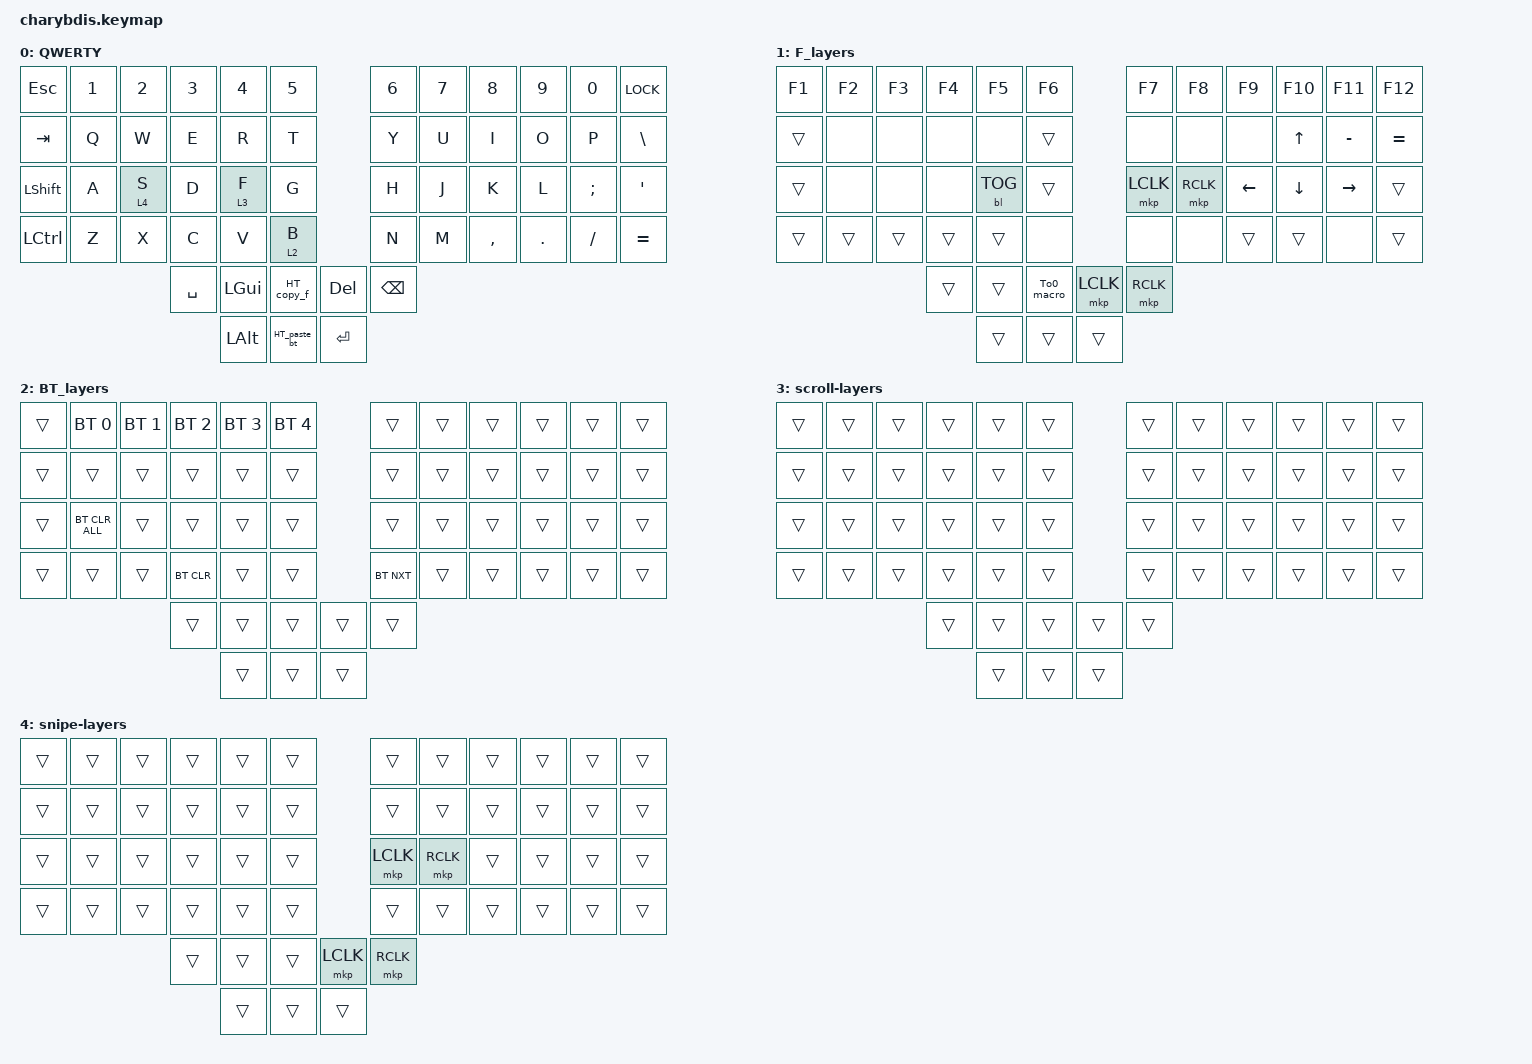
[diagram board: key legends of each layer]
#include <behaviors.dtsi>
#include <dt-bindings/zmk/backlight.h>
#include <dt-bindings/zmk/bt.h>
#include <dt-bindings/zmk/keys.h>
#include <dt-bindings/zmk/pointing.h>
#include <dt-bindings/zmk/rgb.h>

&lt {
    tapping-term-ms = <200>;
    flavor = "balanced";
    quick-tap-ms = <150>;
};

/ {
    macros {
        To1_macro: To1_macro {
            compatible = "zmk,behavior-macro";
            label = "To1_macro";
            #binding-cells = <0>;
            bindings = <&rgb_ug RGB_EFF &rgb_ug RGB_COLOR_HSB(128,100,50) &to 1>;
        };

        To0_macro: To0_macro {
            compatible = "zmk,behavior-macro";
            label = "To0_macro";
            #binding-cells = <0>;
            bindings = <&rgb_ug RGB_EFR &to 0>;
        };

        To2_macro: To2_macro {
            compatible = "zmk,behavior-macro";
            label = "To2_macro";
            #binding-cells = <0>;
            bindings =
                <&to 2>,
                <&macro_wait_time 30>,
                <&rgb_ug RGB_COLOR_HSB(250,100,50)>;
        };
    };

    behaviors {
        ht_copy_f: ht_copy_f_behavior {
            compatible = "zmk,behavior-hold-tap";
            label = "HT_COPY_F";
            #binding-cells = <2>;
            hold = <&mo F_Layers>;       // Layer on hold
            tap = <&mt LCTL &kp C>;      // Tap sends Ctrl+C
            flavor = "tap-preferred";
            tapping-term-ms = <200>;      // milliseconds
        };

        ht_paste_bt: ht_paste_bt_behavior {
            compatible = "zmk,behavior-hold-tap";
            label = "HT_PASTE_BT";
            #binding-cells = <2>;
            hold = <&mo BT_Layers>;      // Layer on hold
            tap = <&mt LCTL &kp V>;      // Tap sends Ctrl+V
            flavor = "tap-preferred";
            tapping-term-ms = <200>;
        };
    };

    keymap {
        compatible = "zmk,keymap";

        QWERTY {
            bindings = <
&kp ESC           &kp N1  &kp N2   &kp N3     &kp N4        &kp N5                        &kp N6      &kp N7         &kp N8     &kp N9   &kp N0    &kp K_LOCK
&kp TAB           &kp Q   &kp W    &kp E      &kp R         &kp T                         &kp Y       &kp U          &kp I      &kp O    &kp P     &kp BSLH
&kp LEFT_SHIFT    &kp A   &lt 4 S  &kp D      &lt 3 F       &kp G                         &kp H       &kp J          &kp K      &kp L    &kp SEMI  &kp SQT
&kp LEFT_CONTROL  &kp Z   &kp X    &kp C      &kp V         &lt 2 B                       &kp N       &kp M          &kp COMMA  &kp DOT  &kp FSLH  &kp EQUAL
                                   &kp SPACE  &kp LEFT_GUI  &HT_copy_f     &kp DELETE  &kp BACKSPACE
                                              &kp LEFT_ALT  &HT_paste_bt    &kp ENTER
            >;
        };

        F_layers {
            bindings = <
&kp F1  &kp F2  &kp F3  &kp F4  &kp F5      &kp F6        &kp F7     &kp F8     &kp F9    &kp F10       &kp F11    &kp F12
&trans  &none   &none   &none   &none       &trans        &none      &none      &none     &kp UP_ARROW  &kp MINUS  &kp EQUAL
&trans  &none   &none   &none   &bl BL_TOG  &trans        &mkp LCLK  &mkp RCLK  &kp LEFT  &kp DOWN      &kp RIGHT  &trans
&trans  &trans  &trans  &trans  &trans      &none         &none      &none      &trans    &trans        &none      &trans
                        &trans  &trans      &To0_macro    &mkp LCLK  &mkp RCLK
                                &trans      &trans        &trans
            >;
        };

        BT_layers {
            bindings = <
&trans  &bt BT_SEL 0    &bt BT_SEL 1  &bt BT_SEL 2  &bt BT_SEL 3  &bt BT_SEL 4    &trans      &trans  &trans  &trans  &trans  &trans
&trans  &trans          &trans        &trans        &trans        &trans          &trans      &trans  &trans  &trans  &trans  &trans
&trans  &bt BT_CLR_ALL  &trans        &trans        &trans        &trans          &trans      &trans  &trans  &trans  &trans  &trans
&trans  &trans          &trans        &bt BT_CLR    &trans        &trans          &bt BT_NXT  &trans  &trans  &trans  &trans  &trans
                                      &trans        &trans        &trans          &trans      &trans
                                                    &trans        &trans          &trans
            >;
        };

        scroll-layers {
            bindings = <
&trans  &trans  &trans  &trans  &trans  &trans    &trans  &trans  &trans  &trans  &trans  &trans
&trans  &trans  &trans  &trans  &trans  &trans    &trans  &trans  &trans  &trans  &trans  &trans
&trans  &trans  &trans  &trans  &trans  &trans    &trans  &trans  &trans  &trans  &trans  &trans
&trans  &trans  &trans  &trans  &trans  &trans    &trans  &trans  &trans  &trans  &trans  &trans
                        &trans  &trans  &trans    &trans  &trans
                                &trans  &trans    &trans
            >;
        };

        snipe-layers {
            bindings = <
&trans  &trans  &trans  &trans  &trans  &trans    &trans     &trans     &trans  &trans  &trans  &trans
&trans  &trans  &trans  &trans  &trans  &trans    &trans     &trans     &trans  &trans  &trans  &trans
&trans  &trans  &trans  &trans  &trans  &trans    &mkp LCLK  &mkp RCLK  &trans  &trans  &trans  &trans
&trans  &trans  &trans  &trans  &trans  &trans    &trans     &trans     &trans  &trans  &trans  &trans
                        &trans  &trans  &trans    &mkp LCLK  &mkp RCLK
                                &trans  &trans    &trans
            >;
        };
    };
};
